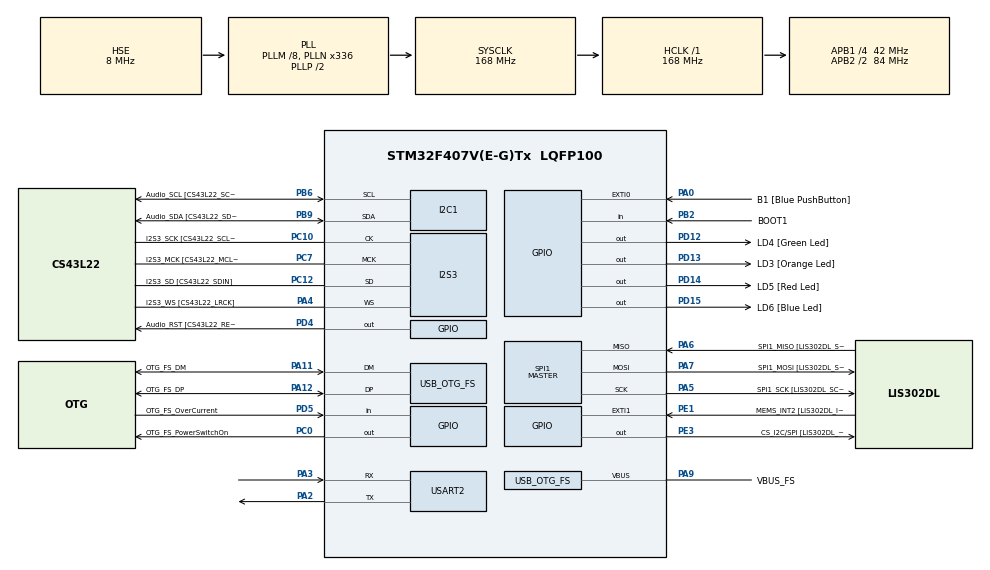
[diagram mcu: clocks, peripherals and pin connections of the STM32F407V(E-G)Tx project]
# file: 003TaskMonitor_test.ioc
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I2S3.AudioFreq-Half_Duplex_Master=I2S_AUDIOFREQ_96K
I2S3.ErrorAudioFreq=-2.34 %
I2S3.ErrorAudioFreq-Half_Duplex_Master=0.8 %
I2S3.FullDuplexMode=I2S_FULLDUPLEXMODE_DISABLE
I2S3.Instance=SPI$Index
I2S3.RealAudioFreq=93.75 KHz
I2S3.RealAudioFreq-Half_Duplex_Master=96.774 KHz
I2S3.VirtualMode=I2S_MODE_MASTER
Mcu.Family=STM32F4
Mcu.Name=STM32F407V(E-G)Tx
Mcu.Package=LQFP100
NVIC.OTG_FS_IRQn=true\:0\:0\:false\:false\:true\:true\:true
NVIC.PriorityGroup=NVIC_PRIORITYGROUP_4
NVIC.TIM6_DAC_IRQn=true\:0\:0\:false\:false\:true\:false\:true
NVIC.TimeBase=TIM6_DAC_IRQn
NVIC.TimeBaseIP=TIM6
PA0-WKUP.GPIO_Label=B1 [Blue PushButton]
PA0-WKUP.GPIO_ModeDefaultEXTI=GPIO_MODE_EVT_RISING
PA0-WKUP.GPIO_PuPd=GPIO_NOPULL
PA0-WKUP.Signal=GPXTI0
PA10.GPIO_Label=OTG_FS_ID
PA10.GPIO_Mode=GPIO_MODE_AF_PP
PA10.GPIO_PuPd=GPIO_NOPULL
PA10.GPIO_Speed=GPIO_SPEED_FREQ_LOW
PA10.Signal=USB_OTG_FS_ID
PA11.GPIO_Label=OTG_FS_DM
PA11.GPIO_Mode=GPIO_MODE_AF_PP
PA11.GPIO_PuPd=GPIO_NOPULL
PA11.GPIO_Speed=GPIO_SPEED_FREQ_LOW
PA11.Mode=Host_Only
PA11.Signal=USB_OTG_FS_DM
PA12.GPIO_Label=OTG_FS_DP
PA12.GPIO_Mode=GPIO_MODE_AF_PP
PA12.GPIO_PuPd=GPIO_NOPULL
PA12.GPIO_Speed=GPIO_SPEED_FREQ_LOW
PA12.Mode=Host_Only
PA12.Signal=USB_OTG_FS_DP
PA13.GPIO_Label=SWDIO
PA13.Mode=Serial_Wire
PA13.Signal=SYS_JTMS-SWDIO
PA14.GPIO_Label=SWCLK
PA14.Mode=Serial_Wire
PA14.Signal=SYS_JTCK-SWCLK
PA2.Mode=Asynchronous
PA2.Signal=USART2_TX
PA3.Mode=Asynchronous
PA3.Signal=USART2_RX
PA4.GPIO_Label=I2S3_WS [CS43L22_LRCK]
PA4.GPIO_Mode=GPIO_MODE_AF_PP
PA4.GPIO_PuPd=GPIO_NOPULL
PA4.GPIO_Speed=GPIO_SPEED_FREQ_LOW
PA4.Mode=Half_Duplex_Master
PA4.Signal=I2S3_WS
PA5.GPIO_Label=SPI1_SCK [LIS302DL_SCL/SPC]
PA5.GPIO_Mode=GPIO_MODE_AF_PP
PA5.GPIO_PuPd=GPIO_NOPULL
PA5.GPIO_Speed=GPIO_SPEED_FREQ_LOW
PA5.Mode=Full_Duplex_Master
PA5.Signal=SPI1_SCK
PA6.GPIO_Label=SPI1_MISO [LIS302DL_SDO]
PA6.GPIO_Mode=GPIO_MODE_AF_PP
PA6.GPIO_PuPd=GPIO_NOPULL
PA6.GPIO_Speed=GPIO_SPEED_FREQ_LOW
PA6.Mode=Full_Duplex_Master
PA6.Signal=SPI1_MISO
PA7.GPIO_Label=SPI1_MOSI [LIS302DL_SDA/SDI/SDO]
PA7.GPIO_Mode=GPIO_MODE_AF_PP
PA7.GPIO_PuPd=GPIO_NOPULL
PA7.GPIO_Speed=GPIO_SPEED_FREQ_LOW
PA7.Mode=Full_Duplex_Master
PA7.Signal=SPI1_MOSI
PA9.GPIO_Label=VBUS_FS
PA9.GPIO_Mode=GPIO_MODE_INPUT
PA9.GPIO_PuPd=GPIO_NOPULL
PA9.Mode=Activate_VBUS
PA9.Signal=USB_OTG_FS_VBUS
PB10.GPIO_Label=CLK_IN [MP45DT02_CLK]
PB10.GPIO_Mode=GPIO_MODE_AF_PP
PB10.GPIO_PuPd=GPIO_NOPULL
PB10.GPIO_Speed=GPIO_SPEED_FREQ_LOW
PB10.Signal=I2S2_CK
PB2.GPIO_Label=BOOT1
PB2.GPIO_Mode=GPIO_MODE_INPUT
PB2.GPIO_PuPd=GPIO_NOPULL
PB2.Signal=GPIO_Input
PB3.GPIO_Label=SWO
PB3.Signal=SYS_JTDO-SWO
PB6.GPIO_Label=Audio_SCL [CS43L22_SCL]
PB6.GPIO_Mode=GPIO_MODE_AF_OD
PB6.GPIO_Pu=GPIO_PULLUP
PB6.GPIO_PuPd=GPIO_NOPULL
PB6.GPIO_Speed=GPIO_SPEED_FREQ_LOW
PB6.Mode=I2C
PB6.Signal=I2C1_SCL
PB9.GPIO_Label=Audio_SDA [CS43L22_SDA]
PB9.GPIO_Mode=GPIO_MODE_AF_OD
PB9.GPIO_Pu=GPIO_PULLUP
PB9.GPIO_PuPd=GPIO_NOPULL
PB9.GPIO_Speed=GPIO_SPEED_FREQ_LOW
PB9.Mode=I2C
PB9.Signal=I2C1_SDA
PC0.GPIO_Label=OTG_FS_PowerSwitchOn
PC0.GPIO_PuPd=GPIO_NOPULL
PC0.GPIO_Speed=GPIO_SPEED_FREQ_LOW
PC0.PinState=GPIO_PIN_SET
PC0.Signal=GPIO_Output
PC10.GPIO_Label=I2S3_SCK [CS43L22_SCLK]
PC10.GPIO_Mode=GPIO_MODE_AF_PP
PC10.GPIO_PuPd=GPIO_NOPULL
PC10.GPIO_Speed=GPIO_SPEED_FREQ_LOW
PC10.Mode=Half_Duplex_Master
PC10.Signal=I2S3_CK
PC12.GPIO_Label=I2S3_SD [CS43L22_SDIN]
PC12.GPIO_Mode=GPIO_MODE_AF_PP
PC12.GPIO_PuPd=GPIO_NOPULL
PC12.GPIO_Speed=GPIO_SPEED_FREQ_LOW
PC12.Mode=Half_Duplex_Master
PC12.Signal=I2S3_SD
PC14-OSC32_IN.GPIO_Label=PC14-OSC32_IN
PC14-OSC32_IN.Mode=LSE-External-Oscillator
PC14-OSC32_IN.Signal=RCC_OSC32_IN
PC15-OSC32_OUT.GPIO_Label=PC15-OSC32_OUT
PC15-OSC32_OUT.Mode=LSE-External-Oscillator
PC15-OSC32_OUT.Signal=RCC_OSC32_OUT
PC3.GPIO_Label=PDM_OUT [MP45DT02_DOUT]
PC3.GPIO_Mode=GPIO_MODE_AF_PP
PC3.GPIO_PuPd=GPIO_NOPULL
PC3.GPIO_Speed=GPIO_SPEED_FREQ_LOW
PC3.Signal=I2S2_SD
PC7.GPIO_Label=I2S3_MCK [CS43L22_MCLK]
PC7.GPIO_Mode=GPIO_MODE_AF_PP
PC7.GPIO_PuPd=GPIO_NOPULL
PC7.GPIO_Speed=GPIO_SPEED_FREQ_LOW
PC7.Mode=Master_Clock_Activated
PC7.Signal=I2S3_MCK
PD12.GPIO_Label=LD4 [Green Led]
PD12.GPIO_PuPd=GPIO_NOPULL
PD12.GPIO_Speed=GPIO_SPEED_FREQ_LOW
PD12.Signal=GPIO_Output
PD13.GPIO_Label=LD3 [Orange Led]
PD13.GPIO_PuPd=GPIO_NOPULL
PD13.GPIO_Speed=GPIO_SPEED_FREQ_LOW
PD13.Signal=GPIO_Output
PD14.GPIO_Label=LD5 [Red Led]
PD14.GPIO_PuPd=GPIO_NOPULL
PD14.GPIO_Speed=GPIO_SPEED_FREQ_LOW
PD14.Signal=GPIO_Output
PD15.GPIO_Label=LD6 [Blue Led]
PD15.GPIO_PuPd=GPIO_NOPULL
PD15.GPIO_Speed=GPIO_SPEED_FREQ_LOW
PD15.Signal=GPIO_Output
PD4.GPIO_Label=Audio_RST [CS43L22_RESET]
PD4.GPIO_PuPd=GPIO_NOPULL
PD4.GPIO_Speed=GPIO_SPEED_FREQ_LOW
PD4.Signal=GPIO_Output
PD5.GPIO_Label=OTG_FS_OverCurrent
PD5.GPIO_Mode=GPIO_MODE_INPUT
PD5.GPIO_PuPd=GPIO_NOPULL
PD5.Signal=GPIO_Input
PE1.GPIO_Label=MEMS_INT2 [LIS302DL_INT2]
PE1.GPIO_ModeDefaultEXTI=GPIO_MODE_EVT_RISING
PE1.GPIO_PuPd=GPIO_NOPULL
PE1.Signal=GPXTI1
PE3.GPIO_Label=CS_I2C/SPI [LIS302DL_CS_I2C/SPI]
PE3.GPIO_PuPd=GPIO_NOPULL
PE3.GPIO_Speed=GPIO_SPEED_FREQ_LOW
PE3.Signal=GPIO_Output
PH0-OSC_IN.GPIO_Label=PH0-OSC_IN
PH0-OSC_IN.Mode=HSE-External-Oscillator
PH0-OSC_IN.Signal=RCC_OSC_IN
PH1-OSC_OUT.GPIO_Label=PH1-OSC_OUT
PH1-OSC_OUT.Mode=HSE-External-Oscillator
PH1-OSC_OUT.Signal=RCC_OSC_OUT
ProjectManager.HeapSize=0x200
ProjectManager.StackSize=0x400
ProjectManager.TargetToolchain=STM32CubeIDE
RCC.48MHZClocksFreq_Value=48000000
RCC.AHBFreq_Value=168000000
RCC.APB1CLKDivider=RCC_HCLK_DIV4
RCC.APB1Freq_Value=42000000
RCC.APB1TimFreq_Value=84000000
RCC.APB2CLKDivider=RCC_HCLK_DIV2
RCC.APB2Freq_Value=84000000
RCC.APB2TimFreq_Value=168000000
RCC.CortexFreq_Value=168000000
RCC.HCLKFreq_Value=168000000
RCC.HSE_VALUE=8000000
RCC.HSI_VALUE=16000000
RCC.PLLM=8
RCC.PLLN=336
RCC.PLLQ=7
RCC.SYSCLKFreq_VALUE=168000000
RCC.SYSCLKSource=RCC_SYSCLKSOURCE_PLLCLK
RCC.VCOOutputFreq_Value=336000000
SPI1.BaudRatePrescaler-Full_Duplex_Master=SPI_BAUDRATEPRESCALER_2
SPI1.CalculateBaudRate-Full_Duplex_Master=42.0 MBits/s
SPI1.Direction=SPI_DIRECTION_2LINES
SPI1.Mode=SPI_MODE_MASTER
SPI1.Mode-Full_Duplex_Master=SPI_MODE_MASTER
SPI1.VirtualType=VM_MASTER
USART2.VirtualMode=VM_ASYNC
USB_HOST.BSP.number=1
USB_HOST.USBH_HandleTypeDef-CDC_FS=hUsbHostFS
USB_HOST.VirtualModeFS=Cdc
USB_HOST0.BSP.STBoard=false
USB_HOST0.BSP.api=Unknown
USB_HOST0.BSP.i2caddr=0
USB_HOST0.BSP.i2creg=0
USB_HOST0.BSP.instance=PC0
USB_HOST0.BSP.ip=GPIO
USB_HOST0.BSP.mode=Output
USB_HOST0.BSP.name=Drive_VBUS_FS
USB_HOST0.BSP.solution=PC0
USB_OTG_FS.VirtualMode=Host_Only
USB_OTG_FS.phy_itface=HCD_PHY_EMBEDDED
VP_SYS_VS_tim6.Mode=TIM6
VP_USB_HOST_VS_USB_HOST_CDC_FS.Mode=CDC_FS
board=STM32F407G-DISC1

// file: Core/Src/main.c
/* USER CODE BEGIN Header */
/**
  ******************************************************************************
  * @file           : main.c
  * @brief          : Main program body
  ******************************************************************************
  * @attention
  *
  * Copyright (c) 2022 STMicroelectronics.
  * All rights reserved.
  *
  * This software is licensed under terms that can be found in the LICENSE file
  * in the root directory of this software component.
  * If no LICENSE file comes with this software, it is provided AS-IS.
  *
  ******************************************************************************
  */
/* USER CODE END Header */
#include "main.h"
#include "usb_host.h"

/* USER CODE BEGIN Includes */
#include "FreeRTOS.h"
#include "task.h"
#include <stdio.h>
#include <string.h>
#include <stdlib.h>
/* USER CODE END Includes */

I2C_HandleTypeDef hi2c1;

I2S_HandleTypeDef hi2s3;

SPI_HandleTypeDef hspi1;

UART_HandleTypeDef huart2;

/* USER CODE BEGIN PV */
List_t *ReadyList;
List_t *DelayedList;
List_t *OverflowDelayedList;
/* USER CODE END PV */

void SystemClock_Config(void);
static void MX_GPIO_Init(void);
static void MX_I2C1_Init(void);
static void MX_I2S3_Init(void);
static void MX_SPI1_Init(void);
static void MX_USART2_UART_Init(void);
void MX_USB_HOST_Process(void);

/* USER CODE BEGIN PFP */
static void Red_LED_App(void *pvParameters);
static void Green_LED_App(void *pvParameters);
static void Delay_App(void *pvParameters);
static void TaskMonitor_App(void *pvParameters);

/* USER CODE END PFP */

int main(void)
{
  /* USER CODE BEGIN 1 */
  TaskHandle_t red_handle;
  TaskHandle_t green_handle;
  TaskHandle_t delay_handle;
  TaskHandle_t monitor_handle;
  BaseType_t status;

  /* USER CODE END 1 */

  /* MCU Configuration--------------------------------------------------------*/

  /* Reset of all peripherals, Initializes the Flash interface and the Systick. */
  HAL_Init();

  /* Configure the system clock */
  SystemClock_Config();

  /* Initialize all configured peripherals */
  MX_GPIO_Init();
  MX_I2C1_Init();
  MX_I2S3_Init();
  MX_SPI1_Init();
  MX_USB_HOST_Init();
  MX_USART2_UART_Init();
  /* USER CODE BEGIN 2 */

  status = xTaskCreate(Red_LED_App, "Red_LED", 200, NULL, 1, &red_handle);
  configASSERT(status == pdPASS);
  status = xTaskCreate(Green_LED_App, "Green_LED", 200, NULL, 1, &green_handle);
  configASSERT(status == pdPASS);
  status = xTaskCreate(Delay_App, "Delay_App", 200, NULL, 14, &delay_handle);
  configASSERT(status == pdPASS);
  status = xTaskCreate(TaskMonitor_App, "TaskMonit", 200, NULL, 3, &monitor_handle);
  configASSERT(status == pdPASS);

  vTaskStartScheduler();
  /* USER CODE END 2 */

  /* Infinite loop */
  while (1)
  {
    MX_USB_HOST_Process();

  }
}

void SystemClock_Config(void)
{
  RCC_OscInitTypeDef RCC_OscInitStruct = {0};
  RCC_ClkInitTypeDef RCC_ClkInitStruct = {0};

  /** Configure the main internal regulator output voltage
  */
  __HAL_RCC_PWR_CLK_ENABLE();
  __HAL_PWR_VOLTAGESCALING_CONFIG(PWR_REGULATOR_VOLTAGE_SCALE1);
  /** Initializes the RCC Oscillators according to the specified parameters
  * in the RCC_OscInitTypeDef structure.
  */
  RCC_OscInitStruct.OscillatorType = RCC_OSCILLATORTYPE_HSE;
  RCC_OscInitStruct.HSEState = RCC_HSE_ON;
  RCC_OscInitStruct.PLL.PLLState = RCC_PLL_ON;
  RCC_OscInitStruct.PLL.PLLSource = RCC_PLLSOURCE_HSE;
  RCC_OscInitStruct.PLL.PLLM = 8;
  RCC_OscInitStruct.PLL.PLLN = 336;
  RCC_OscInitStruct.PLL.PLLP = RCC_PLLP_DIV2;
  RCC_OscInitStruct.PLL.PLLQ = 7;
  if (HAL_RCC_OscConfig(&RCC_OscInitStruct) != HAL_OK)
  {
    Error_Handler();
  }
  /** Initializes the CPU, AHB and APB buses clocks
  */
  RCC_ClkInitStruct.ClockType = RCC_CLOCKTYPE_HCLK|RCC_CLOCKTYPE_SYSCLK
                              |RCC_CLOCKTYPE_PCLK1|RCC_CLOCKTYPE_PCLK2;
  RCC_ClkInitStruct.SYSCLKSource = RCC_SYSCLKSOURCE_PLLCLK;
  RCC_ClkInitStruct.AHBCLKDivider = RCC_SYSCLK_DIV1;
  RCC_ClkInitStruct.APB1CLKDivider = RCC_HCLK_DIV4;
  RCC_ClkInitStruct.APB2CLKDivider = RCC_HCLK_DIV2;

  if (HAL_RCC_ClockConfig(&RCC_ClkInitStruct, FLASH_LATENCY_5) != HAL_OK)
  {
    Error_Handler();
  }
}

static void MX_I2C1_Init(void)
{

  hi2c1.Instance = I2C1;
  hi2c1.Init.ClockSpeed = 100000;
  hi2c1.Init.DutyCycle = I2C_DUTYCYCLE_2;
  hi2c1.Init.OwnAddress1 = 0;
  hi2c1.Init.AddressingMode = I2C_ADDRESSINGMODE_7BIT;
  hi2c1.Init.DualAddressMode = I2C_DUALADDRESS_DISABLE;
  hi2c1.Init.OwnAddress2 = 0;
  hi2c1.Init.GeneralCallMode = I2C_GENERALCALL_DISABLE;
  hi2c1.Init.NoStretchMode = I2C_NOSTRETCH_DISABLE;
  if (HAL_I2C_Init(&hi2c1) != HAL_OK)
  {
    Error_Handler();
  }

}

static void MX_I2S3_Init(void)
{

  hi2s3.Instance = SPI3;
  hi2s3.Init.Mode = I2S_MODE_MASTER_TX;
  hi2s3.Init.Standard = I2S_STANDARD_PHILIPS;
  hi2s3.Init.DataFormat = I2S_DATAFORMAT_16B;
  hi2s3.Init.MCLKOutput = I2S_MCLKOUTPUT_ENABLE;
  hi2s3.Init.AudioFreq = I2S_AUDIOFREQ_96K;
  hi2s3.Init.CPOL = I2S_CPOL_LOW;
  hi2s3.Init.ClockSource = I2S_CLOCK_PLL;
  hi2s3.Init.FullDuplexMode = I2S_FULLDUPLEXMODE_DISABLE;
  if (HAL_I2S_Init(&hi2s3) != HAL_OK)
  {
    Error_Handler();
  }

}

static void MX_SPI1_Init(void)
{

  /* SPI1 parameter configuration*/
  hspi1.Instance = SPI1;
  hspi1.Init.Mode = SPI_MODE_MASTER;
  hspi1.Init.Direction = SPI_DIRECTION_2LINES;
  hspi1.Init.DataSize = SPI_DATASIZE_8BIT;
  hspi1.Init.CLKPolarity = SPI_POLARITY_LOW;
  hspi1.Init.CLKPhase = SPI_PHASE_1EDGE;
  hspi1.Init.NSS = SPI_NSS_SOFT;
  hspi1.Init.BaudRatePrescaler = SPI_BAUDRATEPRESCALER_2;
  hspi1.Init.FirstBit = SPI_FIRSTBIT_MSB;
  hspi1.Init.TIMode = SPI_TIMODE_DISABLE;
  hspi1.Init.CRCCalculation = SPI_CRCCALCULATION_DISABLE;
  hspi1.Init.CRCPolynomial = 10;
  if (HAL_SPI_Init(&hspi1) != HAL_OK)
  {
    Error_Handler();
  }

}

static void MX_USART2_UART_Init(void)
{

  huart2.Instance = USART2;
  huart2.Init.BaudRate = 115200;
  huart2.Init.WordLength = UART_WORDLENGTH_8B;
  huart2.Init.StopBits = UART_STOPBITS_1;
  huart2.Init.Parity = UART_PARITY_NONE;
  huart2.Init.Mode = UART_MODE_TX_RX;
  huart2.Init.HwFlowCtl = UART_HWCONTROL_NONE;
  huart2.Init.OverSampling = UART_OVERSAMPLING_16;
  if (HAL_UART_Init(&huart2) != HAL_OK)
  {
    Error_Handler();
  }

}

static void MX_GPIO_Init(void)
{
  GPIO_InitTypeDef GPIO_InitStruct = {0};

  /* GPIO Ports Clock Enable */
  __HAL_RCC_GPIOE_CLK_ENABLE();
  __HAL_RCC_GPIOC_CLK_ENABLE();
  __HAL_RCC_GPIOH_CLK_ENABLE();
  __HAL_RCC_GPIOA_CLK_ENABLE();
  __HAL_RCC_GPIOB_CLK_ENABLE();
  __HAL_RCC_GPIOD_CLK_ENABLE();

  /*Configure GPIO pin Output Level */
  HAL_GPIO_WritePin(CS_I2C_SPI_GPIO_Port, CS_I2C_SPI_Pin, GPIO_PIN_RESET);

  /*Configure GPIO pin Output Level */
  HAL_GPIO_WritePin(OTG_FS_PowerSwitchOn_GPIO_Port, OTG_FS_PowerSwitchOn_Pin, GPIO_PIN_SET);

  /*Configure GPIO pin Output Level */
  HAL_GPIO_WritePin(GPIOD, LD4_Pin|LD3_Pin|LD5_Pin|LD6_Pin
                          |Audio_RST_Pin, GPIO_PIN_RESET);

  /*Configure GPIO pin : CS_I2C_SPI_Pin */
  GPIO_InitStruct.Pin = CS_I2C_SPI_Pin;
  GPIO_InitStruct.Mode = GPIO_MODE_OUTPUT_PP;
  GPIO_InitStruct.Pull = GPIO_NOPULL;
  GPIO_InitStruct.Speed = GPIO_SPEED_FREQ_LOW;
  HAL_GPIO_Init(CS_I2C_SPI_GPIO_Port, &GPIO_InitStruct);

  /*Configure GPIO pin : OTG_FS_PowerSwitchOn_Pin */
  GPIO_InitStruct.Pin = OTG_FS_PowerSwitchOn_Pin;
  GPIO_InitStruct.Mode = GPIO_MODE_OUTPUT_PP;
  GPIO_InitStruct.Pull = GPIO_NOPULL;
  GPIO_InitStruct.Speed = GPIO_SPEED_FREQ_LOW;
  HAL_GPIO_Init(OTG_FS_PowerSwitchOn_GPIO_Port, &GPIO_InitStruct);

  /*Configure GPIO pin : PDM_OUT_Pin */
  GPIO_InitStruct.Pin = PDM_OUT_Pin;
  GPIO_InitStruct.Mode = GPIO_MODE_AF_PP;
  GPIO_InitStruct.Pull = GPIO_NOPULL;
  GPIO_InitStruct.Speed = GPIO_SPEED_FREQ_LOW;
  GPIO_InitStruct.Alternate = GPIO_AF5_SPI2;
  HAL_GPIO_Init(PDM_OUT_GPIO_Port, &GPIO_InitStruct);

  /*Configure GPIO pin : B1_Pin */
  GPIO_InitStruct.Pin = B1_Pin;
  GPIO_InitStruct.Mode = GPIO_MODE_EVT_RISING;
  GPIO_InitStruct.Pull = GPIO_NOPULL;
  HAL_GPIO_Init(B1_GPIO_Port, &GPIO_InitStruct);

  /*Configure GPIO pin : BOOT1_Pin */
  GPIO_InitStruct.Pin = BOOT1_Pin;
  GPIO_InitStruct.Mode = GPIO_MODE_INPUT;
  GPIO_InitStruct.Pull = GPIO_NOPULL;
  HAL_GPIO_Init(BOOT1_GPIO_Port, &GPIO_InitStruct);

  /*Configure GPIO pin : CLK_IN_Pin */
  GPIO_InitStruct.Pin = CLK_IN_Pin;
  GPIO_InitStruct.Mode = GPIO_MODE_AF_PP;
  GPIO_InitStruct.Pull = GPIO_NOPULL;
  GPIO_InitStruct.Speed = GPIO_SPEED_FREQ_LOW;
  GPIO_InitStruct.Alternate = GPIO_AF5_SPI2;
  HAL_GPIO_Init(CLK_IN_GPIO_Port, &GPIO_InitStruct);

  /*Configure GPIO pins : LD4_Pin LD3_Pin LD5_Pin LD6_Pin
                           Audio_RST_Pin */
  GPIO_InitStruct.Pin = LD4_Pin|LD3_Pin|LD5_Pin|LD6_Pin
                          |Audio_RST_Pin;
  GPIO_InitStruct.Mode = GPIO_MODE_OUTPUT_PP;
  GPIO_InitStruct.Pull = GPIO_NOPULL;
  GPIO_InitStruct.Speed = GPIO_SPEED_FREQ_LOW;
  HAL_GPIO_Init(GPIOD, &GPIO_InitStruct);

  /*Configure GPIO pin : OTG_FS_OverCurrent_Pin */
  GPIO_InitStruct.Pin = OTG_FS_OverCurrent_Pin;
  GPIO_InitStruct.Mode = GPIO_MODE_INPUT;
  GPIO_InitStruct.Pull = GPIO_NOPULL;
  HAL_GPIO_Init(OTG_FS_OverCurrent_GPIO_Port, &GPIO_InitStruct);

  /*Configure GPIO pin : MEMS_INT2_Pin */
  GPIO_InitStruct.Pin = MEMS_INT2_Pin;
  GPIO_InitStruct.Mode = GPIO_MODE_EVT_RISING;
  GPIO_InitStruct.Pull = GPIO_NOPULL;
  HAL_GPIO_Init(MEMS_INT2_GPIO_Port, &GPIO_InitStruct);

}

/* USER CODE BEGIN 4 */
void Red_LED_App(void *pvParameters){
	uint32_t Redtimer = 800;
	for(;;){
		HAL_GPIO_TogglePin(GPIOD,Red_LED_Pin);
		vTaskDelay(Redtimer);
		Redtimer+=1;
	}
}

void Green_LED_App(void *pvParameters){
	uint32_t Greentimer = 1000;
	for(;;){
		HAL_GPIO_TogglePin(GPIOD,Green_LED_Pin);
		vTaskDelay(Greentimer);
		Greentimer+=2;
	}
}

void Delay_App(void *pvParameters){
	int delayflag=0;
	uint32_t delaytime;
	while(1){
		if(delayflag==0){
			delaytime = 1000;
			delayflag=1;
		}else{
			delaytime=0xFFFFFFFF;
		}
		vTaskDelay(delaytime);
	}
}

void TaskMonitor_App(void *pvParameters){
	for(;;){
		//Taskmonitor();
		vTaskDelay(1000);
	}
}
/* USER CODE END 4 */

void HAL_TIM_PeriodElapsedCallback(TIM_HandleTypeDef *htim)
{
  if (htim->Instance == TIM6) {
    HAL_IncTick();
  }
}

void Error_Handler(void)
{
  __disable_irq();
  while (1)
  {
  }
}
